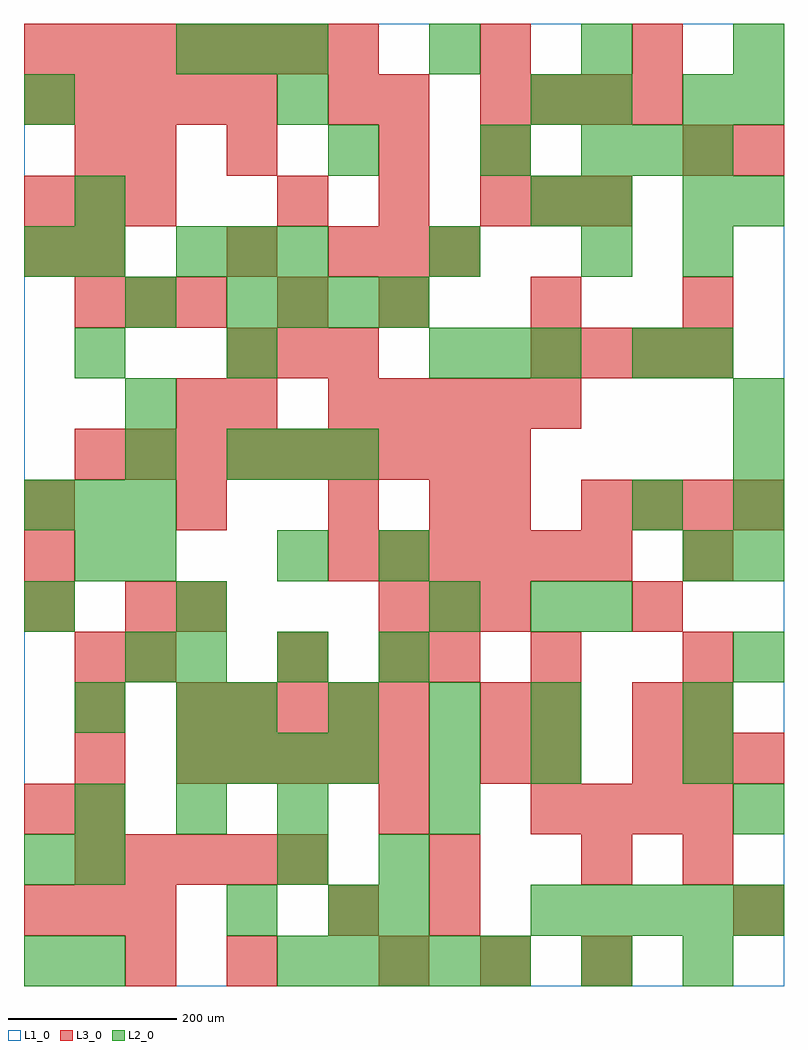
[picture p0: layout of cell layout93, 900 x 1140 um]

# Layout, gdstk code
import gdstk
lib = gdstk.Library(unit=1e-6, precision=1e-09)
def R(c, l, rs):  # rectangles x0, y0, x1, y1
    for r in rs: c.add(gdstk.rectangle(r[:2], r[2:], *l))
def A(c, l, x, y, w, h, nx, ny, dx, dy):  # array of equal rectangles
    R(c, l, [(x+i*dx, y+j*dy, x+i*dx+w, y+j*dy+h) for i in range(nx) for j in range(ny)])
L1_0 = (1, 0)
L2_0 = (2, 0)
L3_0 = (3, 0)

layout93 = lib.new_cell('layout93')
R(layout93, L1_0, [(0,0,900,1140)])
A(layout93, L2_0, 300, 0, 60, 60, 5, 1, 60, 0)
A(layout93, L2_0, 660, 0, 60, 60, 1, 3, 0, 420)
A(layout93, L2_0, 600, 60, 60, 60, 5, 1, 60, 0)
A(layout93, L2_0, 60, 120, 60, 60, 1, 3, 0, 180)
A(layout93, L2_0, 60, 180, 60, 60, 3, 1, 120, 0)
A(layout93, L2_0, 180, 240, 60, 60, 4, 1, 60, 0)
A(layout93, L2_0, 240, 300, 60, 60, 4, 1, 120, 0)
A(layout93, L2_0, 120, 360, 60, 60, 1, 3, 0, 120)
A(layout93, L2_0, 180, 360, 60, 60, 3, 1, 120, 0)
A(layout93, L2_0, 840, 480, 60, 60, 1, 4, 0, 60)
A(layout93, L2_0, 0, 540, 60, 60, 3, 1, 60, 0)
A(layout93, L2_0, 240, 600, 60, 60, 3, 1, 60, 0)
A(layout93, L2_0, 480, 720, 60, 60, 3, 1, 60, 0)
A(layout93, L2_0, 240, 780, 60, 60, 4, 1, 60, 0)
A(layout93, L2_0, 180, 840, 60, 60, 3, 2, 60, 240)
A(layout93, L2_0, 660, 960, 60, 60, 3, 1, 60, 0)
A(layout93, L2_0, 0, 1020, 60, 60, 3, 1, 300, 0)
A(layout93, L2_0, 480, 1080, 60, 60, 3, 1, 180, 0)
R(layout93, L2_0, [(0,0,60,60), (60,0,120,60), (780,0,840,60), (240,60,300,120), (360,60,420,120), (420,60,480,120), (0,120,60,180), (300,120,360,180), (420,120,480,180), (480,180,540,240), (840,180,900,240), (480,240,540,300), (600,240,660,300), (780,240,840,300), (180,300,240,360), (780,300,840,360), (840,360,900,420), (0,420,60,480), (180,420,240,480), (480,420,540,480), (600,420,660,480), (300,480,360,540), (420,480,480,540), (780,480,840,540), (720,540,780,600), (120,660,180,720), (60,720,120,780), (240,720,300,780), (720,720,780,780), (780,720,840,780), (120,780,180,840), (0,840,60,900), (60,840,120,900), (480,840,540,900), (780,840,840,900), (60,900,120,960), (600,900,660,960), (660,900,720,960), (780,900,840,960), (840,900,900,960), (360,960,420,1020), (540,960,600,1020), (660,1020,720,1080), (780,1020,840,1080), (840,1020,900,1080)])
A(layout93, L3_0, 420, 0, 60, 60, 3, 1, 120, 0)
A(layout93, L3_0, 0, 60, 60, 60, 3, 2, 60, 840)
A(layout93, L3_0, 60, 120, 60, 60, 5, 1, 60, 0)
A(layout93, L3_0, 60, 180, 60, 60, 1, 4, 0, 60)
A(layout93, L3_0, 600, 180, 60, 60, 4, 2, 60, 540)
A(layout93, L3_0, 180, 240, 60, 60, 5, 2, 60, 60)
A(layout93, L3_0, 600, 240, 60, 60, 1, 3, 0, 60)
A(layout93, L3_0, 720, 240, 60, 60, 3, 1, 60, 0)
A(layout93, L3_0, 420, 420, 60, 60, 3, 1, 60, 0)
A(layout93, L3_0, 360, 480, 60, 60, 6, 1, 60, 0)
A(layout93, L3_0, 0, 540, 60, 60, 3, 1, 180, 0)
A(layout93, L3_0, 660, 540, 60, 60, 4, 1, 60, 0)
A(layout93, L3_0, 60, 600, 60, 60, 9, 1, 60, 0)
A(layout93, L3_0, 360, 660, 60, 60, 5, 1, 60, 0)
A(layout93, L3_0, 240, 720, 60, 60, 3, 1, 60, 0)
A(layout93, L3_0, 60, 780, 60, 60, 3, 1, 60, 0)
A(layout93, L3_0, 420, 780, 60, 60, 3, 1, 180, 0)
A(layout93, L3_0, 360, 840, 60, 60, 3, 1, 60, 0)
A(layout93, L3_0, 300, 900, 60, 60, 3, 1, 120, 0)
A(layout93, L3_0, 0, 1020, 60, 60, 5, 1, 60, 0)
A(layout93, L3_0, 540, 1020, 60, 60, 4, 1, 60, 0)
A(layout93, L3_0, 0, 1080, 60, 60, 7, 1, 60, 0)
R(layout93, L3_0, [(120,0,180,60), (240,0,300,60), (360,60,420,120), (480,60,540,120), (840,60,900,120), (480,120,540,180), (660,120,720,180), (780,120,840,180), (0,180,60,240), (420,180,480,240), (540,240,600,300), (540,300,600,360), (720,300,780,360), (780,300,840,360), (120,360,180,420), (300,360,360,420), (420,360,480,420), (480,360,540,420), (780,360,840,420), (0,420,60,480), (120,420,180,480), (180,420,240,480), (720,420,780,480), (0,480,60,540), (780,480,840,540), (480,540,540,600), (540,540,600,600), (180,660,240,720), (240,660,300,720), (300,780,360,840), (0,840,60,900), (60,840,120,900), (240,840,300,900), (600,900,660,960), (660,900,720,960), (60,960,120,1020), (120,960,180,1020), (240,960,300,1020), (420,960,480,1020), (540,960,600,1020), (780,960,840,1020), (840,960,900,1020), (360,1020,420,1080), (420,1020,480,1080), (540,1080,600,1140), (720,1080,780,1140)])

lib.write_gds('layout93.gds')
